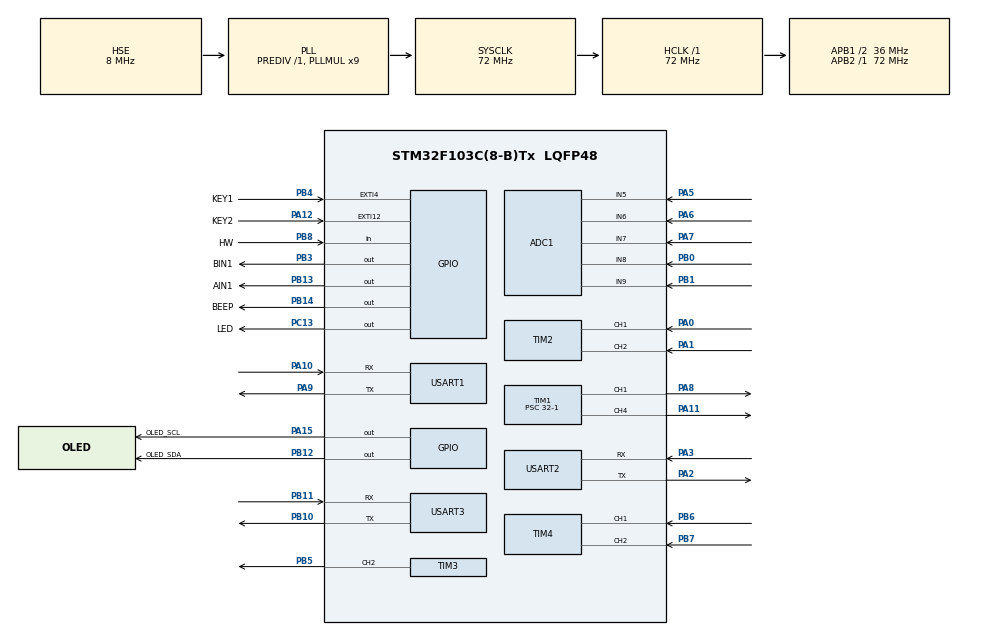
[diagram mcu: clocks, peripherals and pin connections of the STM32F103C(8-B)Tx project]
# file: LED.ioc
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ADC1.Channel-0\#ChannelRegularConversion=ADC_CHANNEL_5
ADC1.Channel-1\#ChannelRegularConversion=ADC_CHANNEL_6
ADC1.Channel-2\#ChannelRegularConversion=ADC_CHANNEL_7
ADC1.Channel-3\#ChannelRegularConversion=ADC_CHANNEL_8
ADC1.Channel-4\#ChannelRegularConversion=ADC_CHANNEL_9
ADC1.DiscontinuousConvMode=ENABLE
ADC1.NbrOfConversion=5
ADC1.NbrOfConversionFlag=1
ADC1.Rank-0\#ChannelRegularConversion=1
ADC1.Rank-1\#ChannelRegularConversion=2
ADC1.Rank-2\#ChannelRegularConversion=3
ADC1.Rank-3\#ChannelRegularConversion=4
ADC1.Rank-4\#ChannelRegularConversion=5
ADC1.SamplingTime-0\#ChannelRegularConversion=ADC_SAMPLETIME_1CYCLE_5
ADC1.SamplingTime-1\#ChannelRegularConversion=ADC_SAMPLETIME_1CYCLE_5
ADC1.SamplingTime-2\#ChannelRegularConversion=ADC_SAMPLETIME_13CYCLES_5
ADC1.SamplingTime-3\#ChannelRegularConversion=ADC_SAMPLETIME_1CYCLE_5
ADC1.SamplingTime-4\#ChannelRegularConversion=ADC_SAMPLETIME_1CYCLE_5
ADC1.master=1
Mcu.Family=STM32F1
Mcu.Name=STM32F103C(8-B)Tx
Mcu.Package=LQFP48
NVIC.ADC1_2_IRQn=true\:0\:0\:false\:false\:true\:true\:true\:true
NVIC.EXTI15_10_IRQn=true\:0\:0\:false\:false\:true\:true\:true\:true
NVIC.EXTI4_IRQn=true\:4\:0\:true\:false\:true\:true\:true\:true
NVIC.PriorityGroup=NVIC_PRIORITYGROUP_4
NVIC.TIM1_UP_IRQn=true\:3\:0\:true\:false\:true\:true\:true\:true
NVIC.TIM2_IRQn=true\:2\:0\:true\:false\:true\:true\:true\:true
NVIC.TIM3_IRQn=true\:1\:0\:true\:false\:true\:true\:true\:true
NVIC.TIM4_IRQn=true\:2\:0\:true\:false\:true\:true\:true\:true
NVIC.USART1_IRQn=true\:0\:0\:false\:false\:true\:true\:true\:true
NVIC.USART2_IRQn=true\:0\:0\:false\:false\:true\:true\:true\:true
NVIC.USART3_IRQn=true\:0\:0\:true\:false\:true\:true\:true\:true
PA0-WKUP.GPIO_PuPd=GPIO_PULLUP
PA0-WKUP.Signal=S_TIM2_CH1_ETR
PA1.GPIO_PuPd=GPIO_PULLUP
PA1.Signal=S_TIM2_CH2
PA10.Mode=Asynchronous
PA10.Signal=USART1_RX
PA11.Signal=S_TIM1_CH4
PA12.GPIO_Label=KEY2
PA12.GPIO_ModeDefaultEXTI=GPIO_MODE_IT_FALLING
PA12.GPIO_PuPd=GPIO_PULLUP
PA12.Signal=GPXTI12
PA13.Mode=Serial_Wire
PA13.Signal=SYS_JTMS-SWDIO
PA14.Mode=Serial_Wire
PA14.Signal=SYS_JTCK-SWCLK
PA15.GPIO_Label=OLED_SCL
PA15.GPIO_PuPd=GPIO_PULLUP
PA15.PinState=GPIO_PIN_SET
PA15.Signal=GPIO_Output
PA2.Mode=Asynchronous
PA2.Signal=USART2_TX
PA3.Mode=Asynchronous
PA3.Signal=USART2_RX
PA4.Signal=ADCx_IN4
PA5.Signal=ADCx_IN5
PA6.Signal=ADCx_IN6
PA7.Signal=ADCx_IN7
PA8.Signal=S_TIM1_CH1
PA9.Mode=Asynchronous
PA9.Signal=USART1_TX
PB0.Signal=ADCx_IN8
PB1.Signal=ADCx_IN9
PB10.Mode=Asynchronous
PB10.Signal=USART3_TX
PB11.Mode=Asynchronous
PB11.Signal=USART3_RX
PB12.GPIO_Label=OLED_SDA
PB12.GPIO_PuPd=GPIO_PULLUP
PB12.PinState=GPIO_PIN_SET
PB12.Signal=GPIO_Output
PB13.GPIO_Label=AIN1
PB13.Signal=GPIO_Output
PB14.GPIO_Label=BEEP
PB14.GPIO_ModeDefaultOutputPP=GPIO_MODE_OUTPUT_PP
PB14.PinState=GPIO_PIN_RESET
PB14.Signal=GPIO_Output
PB3.GPIO_Label=BIN1
PB3.Signal=GPIO_Output
PB4.GPIO_Label=KEY1
PB4.GPIO_ModeDefaultEXTI=GPIO_MODE_IT_RISING
PB4.GPIO_PuPd=GPIO_PULLDOWN
PB4.Signal=GPXTI4
PB5.Signal=S_TIM3_CH2
PB6.GPIO_PuPd=GPIO_PULLUP
PB6.Signal=S_TIM4_CH1
PB7.GPIO_PuPd=GPIO_PULLUP
PB7.Signal=S_TIM4_CH2
PB8.GPIO_Label=HW
PB8.GPIO_PuPd=GPIO_PULLDOWN
PB8.Signal=GPIO_Input
PC13-TAMPER-RTC.GPIO_Label=LED
PC13-TAMPER-RTC.Signal=GPIO_Output
PD0-OSC_IN.Mode=HSE-External-Oscillator
PD0-OSC_IN.Signal=RCC_OSC_IN
PD1-OSC_OUT.Mode=HSE-External-Oscillator
PD1-OSC_OUT.Signal=RCC_OSC_OUT
ProjectManager.HeapSize=0x800
ProjectManager.StackSize=0x800
ProjectManager.TargetToolchain=MDK-ARM V5.32
RCC.ADCPresc=RCC_ADCPCLK2_DIV6
RCC.AHBFreq_Value=72000000
RCC.APB1CLKDivider=RCC_HCLK_DIV2
RCC.APB1Freq_Value=36000000
RCC.APB1TimFreq_Value=72000000
RCC.APB2Freq_Value=72000000
RCC.APB2TimFreq_Value=72000000
RCC.HCLKFreq_Value=72000000
RCC.PLLMUL=RCC_PLL_MUL9
RCC.PLLSourceVirtual=RCC_PLLSOURCE_HSE
RCC.SYSCLKFreq_VALUE=72000000
RCC.SYSCLKSource=RCC_SYSCLKSOURCE_PLLCLK
RCC.USBFreq_Value=72000000
SH.ADCx_IN4.0=ADC2_IN4
SH.ADCx_IN5.0=ADC1_IN5,IN5
SH.ADCx_IN6.0=ADC1_IN6,IN6
SH.ADCx_IN7.0=ADC1_IN7,IN7
SH.ADCx_IN8.0=ADC1_IN8,IN8
SH.ADCx_IN9.0=ADC1_IN9,IN9
SH.S_TIM1_CH1.0=TIM1_CH1,PWM Generation1 CH1
SH.S_TIM1_CH4.0=TIM1_CH4,PWM Generation4 CH4
SH.S_TIM2_CH1_ETR.0=TIM2_CH1,Encoder_Interface
SH.S_TIM2_CH2.0=TIM2_CH2,Encoder_Interface
SH.S_TIM3_CH2.0=TIM3_CH2,PWM Generation2 CH2
SH.S_TIM4_CH1.0=TIM4_CH1,Encoder_Interface
SH.S_TIM4_CH2.0=TIM4_CH2,Encoder_Interface
TIM1.AutoReloadPreload=TIM_AUTORELOAD_PRELOAD_ENABLE
TIM1.Channel-PWM\ Generation1\ CH1=TIM_CHANNEL_1
TIM1.Channel-PWM\ Generation4\ CH4=TIM_CHANNEL_4
TIM1.Period=100-1
TIM1.Prescaler=32-1
TIM1.Pulse-PWM\ Generation1\ CH1=0
TIM1.Pulse-PWM\ Generation4\ CH4=0
TIM2.EncoderMode=TIM_ENCODERMODE_TI12
TIM2.IC1Filter=6
TIM2.IC2Filter=6
TIM3.Channel-PWM\ Generation2\ CH2=TIM_CHANNEL_2
TIM3.Period=100-1
TIM3.Prescaler=1440-1
TIM4.EncoderMode=TIM_ENCODERMODE_TI12
TIM4.IC1Filter=6
TIM4.IC2Filter=6
USART1.VirtualMode=VM_ASYNC
USART2.VirtualMode=VM_ASYNC
USART3.VirtualMode=VM_ASYNC
VP_TIM1_VS_ClockSourceINT.Mode=Internal
board=custom

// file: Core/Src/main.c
/* USER CODE BEGIN Header */
/**
  ******************************************************************************
  * @file           : main.c
  * @brief          : Main program body
  ******************************************************************************
  * @attention
  *
  * Copyright (c) 2022 STMicroelectronics.
  * All rights reserved.
  *
  * This software is licensed under terms that can be found in the LICENSE file
  * in the root directory of this software component.
  * If no LICENSE file comes with this software, it is provided AS-IS.
  *
  ******************************************************************************
  */
/* USER CODE END Header */
#include "main.h"
#include "adc.h"
#include "tim.h"
#include "usart.h"
#include "gpio.h"

/* USER CODE BEGIN Includes */
#include "oled.h"
#include "stdio.h"
#include "motor.h"

#include "pid.h"
#include "control.h"
#include "encoder.h"
#include "protocol.h"
#include <string.h>
#include "gray_sensor.h"
#include "openmv.h"
#include "blue.h"

/* USER CODE END Includes */

/* USER CODE BEGIN PM */
extern float Motor1Speed ;
extern float Motor2Speed ;
extern long Target_encodersum;
extern int encoder1;
extern long encodersum1;
extern long encodersum2;

extern float Mileage1;//里程数
extern float Mileage2;
extern float Target_Mileage;

extern tPid pidMotor1Speed;
extern tPid pidMotor2Speed;
extern tPid pidpos1;
extern tPid pidpos2;

extern uint8_t LR,LR_tem,Num,Find_State,TargetNum,right_flag,left_flag,Finded_flag;

//extern uint8_t Usart1_ReadBuf[255];	//串口1 缓冲数组

uint8_t OledString[50];

extern uint8_t g_ucUsart3ReceiveData;
extern uint8_t uart1_rxbuff;

extern float pos_pwm;
extern uint8_t HD_Read[5];

int load_flat;						//药品装载标志
extern uint8_t Line_flag, Turn_flag,Stop_Flag,motor_flat,Spin_start_flag,Spin_succeed_flag;
extern float circle;
extern uint8_t stop_count , spin_count;
extern uint8_t Num;
uint8_t Do_count;
uint16_t ADC_Value[5];
extern float pos_pwm1;
extern int Line_num;
extern uint16_t TimerCount;
uint8_t task=1;
extern uint8_t Target_Room;
extern uint16_t FindTimeCount,loadCount;
int caseflag=0;
extern uint8_t Gray_flat,Car_stop_flat,Car_Goon_flag,Speed_Up;

/* USER CODE END PM */

void SystemClock_Config(void);

int main(void)
{

  /* MCU Configuration--------------------------------------------------------*/

  /* Reset of all peripherals, Initializes the Flash interface and the Systick. */
  HAL_Init();

  /* Configure the system clock */
  SystemClock_Config();

  /* Initialize all configured peripherals */
  MX_GPIO_Init();
  MX_USART1_UART_Init();
  MX_TIM1_Init();
  MX_TIM2_Init();
  MX_TIM4_Init();
  MX_USART3_UART_Init();
  MX_TIM3_Init();
  MX_USART2_UART_Init();
  MX_ADC1_Init();
  /* USER CODE BEGIN 2 */
  OLED_Init();			//初始化OLED
  OLED_Clear()  	;
  HAL_TIM_PWM_Start(&htim1,TIM_CHANNEL_1);//开启定时器1 通道1 PWM输出
  HAL_TIM_PWM_Start(&htim1,TIM_CHANNEL_4);//开启定时器1 通道4 PWM输出
  HAL_TIM_PWM_Start(&htim3,TIM_CHANNEL_2);//定时器3 舵机
  HAL_TIM_Encoder_Start(&htim2,TIM_CHANNEL_ALL);//开启定时器2
  HAL_TIM_Encoder_Start(&htim4,TIM_CHANNEL_ALL);//开启定时器4
  HAL_TIM_Base_Start_IT(&htim2);				//开启定时器2 中断
  HAL_TIM_Base_Start_IT(&htim3);
  HAL_TIM_Base_Start_IT(&htim4);                //开启定时器4 中断
  HAL_TIM_Base_Start_IT(&htim1);                //开启定时器1 中断

  __HAL_UART_ENABLE_IT(&huart1,UART_IT_RXNE);	//开启串口1接收中断
  __HAL_UART_ENABLE_IT(&huart2,UART_IT_RXNE);	//开启串口2接收中断

  HAL_UART_Receive_IT(&huart3,&g_ucUsart3ReceiveData,1);
//  HAL_UART_Receive_IT(&huart2,&uart2_rxbuff,1);
  HAL_UART_Receive_IT(&huart1,&uart1_rxbuff,1);
//  PID_init();
  protocol_init();
  set_computer_value(SEND_STOP_CMD, CURVES_CH1, NULL, 0);
  LED_OFF;
  HAL_ADCEx_Calibration_Start(&hadc1);
  Motor_Set(60,60);
  /* USER CODE END 2 */

  /* Infinite loop */
  while (1)
  {

    /* USER CODE BEGIN 3 */

	if(TimerCount>=100)
	{

//		Send_Data_K210();
		Set_task();
		TimerCount=0;

	}

	if(loadCount>=500)
	{
		If_load();
		loadCount=0;

	}

	if(task==1)
	{
		Set_TargetRoom();
	}

//	sprintf((char*)OledString, "V1:%.2f V2:%.2f", Motor1Speed,Motor2Speed);//
//	OLED_ShowString(0,0,OledString,12);

	sprintf((char*)OledString, "grayflag:%d",Gray_flat);
	OLED_ShowString(0,3,OledString,12);

	sprintf((char*)OledString, "encoder:%d",encoder1);
	OLED_ShowString(0,4,OledString,12);

	sprintf((char*)OledString, "Task:%d", task);
	OLED_ShowString(0,0,OledString,12);

	sprintf((char*)OledString, "caseflag:%d",caseflag);
	OLED_ShowString(0,2,OledString,12);

//	sprintf((char*)OledString, "M1:%.2f",Mileage1);
//	OLED_ShowString(0,5,OledString,12);

	sprintf((char*)OledString, "%d %d %d %d %d",HD_Read[0], HD_Read[1] ,HD_Read[2],HD_Read[3],HD_Read[4]);
	OLED_ShowString(0,1,OledString,12);

//	sprintf((char*)OledString, "M2:%.2f",Mileage2 );
//	OLED_ShowString(0,6,OledString,12);

	sprintf((char*)OledString, "num:%d TNum:%d", Num,TargetNum );
	OLED_ShowString(0,7,OledString,12);

	sprintf((char*)OledString, "%d %d %d",ADC_Value[2],ADC_Value[1],ADC_Value[0]);
	OLED_ShowString(0,6,OledString,12);

	sprintf((char*)OledString, "%d %d",ADC_Value[4],ADC_Value[3]);
	OLED_ShowString(0,5,OledString,12);

if(task==2)
{//近端病房
	if(Target_Room=='B')
	{
		switch(Do_count)
		{
			case 0:
					Do_count++;
					Car_go(78);
					break;
			case 1:
					if(Stop_Flag==1)
					{
						Spin_Turn(right);
						Do_count++;
					}break;
			case 2:
					if(Spin_succeed_flag==1)
					{
						Car_go(42);
						Do_count++;
					}break;
			case 3:
					if(Stop_Flag==1)
					{
						LED_ON;
						Do_count++;
					}break;
			case 4:

					if(load_flat==0)
						{
						Spin_Turn(back);
						Do_count++;
						break;
						}
			case 5:
					if(Spin_succeed_flag==1)
						{
							Car_go(44);
							Do_count++;
						}break;
			case 6:
						if(Stop_Flag==1)
						{
							Spin_Turn(left);
							Do_count++;
						}break;
			case 7:
						if(Spin_succeed_flag==1)
						{
							Car_go(62);
						}break;

			}
		}

	else if(Target_Room=='A')
	{
		switch(Do_count)
		{
			case 0:
					Do_count++;
					Car_go(78);
					break;
			case 1:
					if(Stop_Flag==1)
					{
						Spin_Turn(left);
						Do_count++;
					}break;
			case 2:
					if(Spin_succeed_flag==1)
					{
						Car_go(42);
						Do_count++;
					}break;
			case 3:
					if(Stop_Flag==1)
					{
						LED_ON;
						Do_count++;
					}break;
			case 4:

					if(load_flat==0)
						{
						Spin_Turn(back);
						Do_count++;
						}break;
			case 5:
					if(Spin_succeed_flag==1)
						{
							Car_go(45);
							Do_count++;
						}break;
			case 6:
						if(Stop_Flag==1)
						{
							Spin_Turn(right);
							Do_count++;
						}break;
			case 7:
						if(Spin_succeed_flag==1)
						{
							Car_go(60);
						}break;

		}

	}

	//中远端病房
	else if(Target_Room==9)
		{
			switch(Do_count)
		{
			case 0:
					Car_go(128);
					Do_count++;
					break;
			case 1:
					if(Stop_Flag==1)
					{
							Find_State=1;
							if(FindTimeCount<=WaitTime)
							{

								If_Find();
								if(LR==1)		//中左
								{
									Car_go(37);
									Find_State=0;
									caseflag=-1;
									FindTimeCount = 0;
									Do_count=11;
								}
								else if(LR==2)		//中右
								{
									Car_go(37);
									Find_State=0;
									caseflag=1;
									FindTimeCount = 0;
									Do_count=11;
								}								//这里执行完小车在中端十字路口
							}
							else if(FindTimeCount>WaitTime)
								{
										Car_go(87);			//这里去远端
										Find_State=0;
										FindTimeCount = 0;
										Do_count++;
								}
								}break;

			case 2:
						if(Stop_Flag == 1)
								{
										Find_State=1;
										if(FindTimeCount<=WaitTime)
									{
											If_Find();
										if(LR == 1)
										{
											 Car_go(37);
											 Find_State=0;
											 FindTimeCount = 0;
											 caseflag=-1;
											 Do_count=5;
										}
										else if(LR == 2)
										{
											 Car_go(37);
											 Find_State=0;
											 FindTimeCount = 0;
											 caseflag=1;
											 Do_count=5;
										}
										}
										if(FindTimeCount>WaitTime)
									{
										{		Spin_right();
												Find_State=0;
												FindTimeCount = 0;
												Do_count++;
										}
									}
								}break;
			case 3:
							if(right_flag==0)
							{
									Find_State=1;
								if(FindTimeCount<=WaitTime)
								{
									If_Find();
									if(LR==1||LR == 2)
									{
										Spin_left();
										caseflag=1;
										Find_State=0;
										FindTimeCount = 0;
										Do_count++;
									}
								}
								else if(FindTimeCount>WaitTime)
								{
									Spin_left();
									caseflag=-1;
									Find_State=0;
									FindTimeCount = 0;
									Do_count++;
								}
								}break;

			case 4:
						if(left_flag==0)
						{
							Car_go(30);
							Do_count=5;
						}
						break;						//远端十字口

			case 5:
						if(Stop_Flag==1)
						{
							if(caseflag==1)
							{
								Spin_Turn(right);
								Do_count++;
							}
							else if(caseflag==-1)
							{
								Spin_Turn(left);
								Do_count++;
							}break;
						}
				case 6:
						if(Spin_succeed_flag==1)
						{
							if(caseflag==-1)
							{
							Car_go(50);
							}
							else
							{
								Car_go(47);
							}
							LR=0;
							Do_count++;

						}break;
				case 7:
						if(Stop_Flag==1)
						{
								Find_State=1;
								If_Find();
							if(FindTimeCount<=WaitTime)
							{
								if(LR==1||LR==2)
								{
									if(caseflag==1)
									{
										Car_go(38);}

								  else
								  {
										Car_go(37);
								  }
								 Find_State=0;
								 FindTimeCount=0;
								 Do_count++;
								 }
							}

							else if(FindTimeCount>WaitTime)
							{
								if(caseflag==-1)
								{
									if(LR==0 && LR_tem==1) LR=2;
									else if(LR==0 && LR_tem==2) LR=1;
										Car_go(36);

								}
								else if(caseflag==1)
								{
									if(LR==0 && LR_tem==1) LR=2;
									else if(LR==0 && LR_tem==2) LR=1;
									Car_go(39);
								}
								 Find_State=0;
								 FindTimeCount=0;
								 Do_count++;
							}

						}break;
				case 8:
						if( LR == 1 &&caseflag==-1)
										{

											 caseflag=-2;
											 Do_count++;
										}
						else if(LR == 2 &&caseflag==-1)
										{

											 caseflag=-3;
											 Do_count++;
										}
						else if(LR == 2 &&caseflag==1)
										{

											 caseflag=2;
											 Do_count++;
										}
					   else if(LR == 1 &&caseflag==1 )
										{

											 caseflag=3;
											 Do_count++;
										}break;
				case 9:
						if(Stop_Flag==1)
						{
							if(caseflag==2||caseflag==-3)
							{
								Spin_Turn(right);
								Do_count++;
							}
							if(caseflag==3||caseflag==-2)
							{
								Spin_Turn(left);
								Do_count++;
							}

						}break;

				case 10:
						if(Spin_succeed_flag==1)
						{
							if(caseflag==2)
							{
								Car_go(41);
							}
							else if(caseflag==-3)
							{
								Car_go(42);
							}
							else
							{
							Car_go(43);
							}
							Do_count=18;
							break;
						}       //到达远端病房

				//这里进中端病房并返回
				case 11:
						if(Stop_Flag==1)
						{
							if(caseflag==-1)
							{
								Spin_Turn(left);
								Do_count++;
							}
							if(caseflag==1)
							{
								Spin_Turn(right);
								Do_count++;
							}
						}break;
				case 12:
						if(Spin_succeed_flag==1)
							{
								if(caseflag==1)
							{
								Car_go(41);
								Do_count++;
								}

							else if(caseflag==-1)
							{
								Car_go(42);
								Do_count++;
							}
						}break;
				case 13:
						if(Stop_Flag==1)
						{
						if(load_flat==0)
						{
							Spin_Turn(back);
							Do_count++;
						}
						}break;
				case 14:
						if(Spin_succeed_flag==1)
						{
							if(caseflag==1)
							{
								Car_go(43);
								Do_count++;
								}

							else if(caseflag==-1)
							{
								Car_go(45);
								Do_count++;
							}
						}break;
				case 15:
						if(Stop_Flag==1)
						{
							if(caseflag==-1)		//这里要相反
								{
									Spin_Turn(right);
									Do_count++;			}
							if(caseflag==1)
								{
									Spin_Turn(left);
									Do_count++;

								}
						}break;
				case 16:
						if(Spin_succeed_flag==1)
						{
							if(caseflag==-1)		//这里要相反
								{
									Car_go(148);
									Do_count++;
									}
							if(caseflag==1)
								{
									Car_go(151);
									Do_count++;
						}
						}break;
				case 17:
						if(Stop_Flag==1)
						{
							LED_OFF;

						}break;

				//远端返回

				case 18:
					if(Stop_Flag==1)
					{
						if(load_flat==0)
						{
							Spin_Turn(back);
							Do_count++;
						}
						}break;
				case 19:
					if(Spin_succeed_flag==1)
						{
							if(caseflag==-3)
							{
								Car_go(45);
								Do_count++;
							}
							else if(caseflag==-2)
							{
								Car_go(45);
								Do_count++;
							}
							else
							{
								Car_go(45);
								Do_count++;
							}
						}break;
				case 20:
					if(Stop_Flag==1)
					{
						if(caseflag==-2||caseflag==3)
						{
							Spin_Turn(right);
							Do_count++;
						}
						else if(caseflag==-3||caseflag==2)
						{
							Spin_Turn(left);
							Do_count++;
						}
					}break;
				case 21:
					if(Spin_succeed_flag==1)
					{	if(caseflag==2)
						{
							Car_go(89);
							Do_count++;
						}
						else if(caseflag==3)
						{
							Car_go(85);
							Do_count++;
						}
						else if(caseflag==-2)
						{
							Car_go(83);
							Do_count++;
						}
						else
						{
							Car_go(88);
							Do_count++;
						}

					}break;
				case 22:
					if(Stop_Flag==1)
					{
							if(caseflag==-2||caseflag==-3)
							{
								Spin_Turn(right);
								Do_count++;
							}
							else if(caseflag==2||caseflag==3)
							{
								Spin_Turn(left);
								Do_count++;
							}

					}break;

				case 23:
					if(Spin_succeed_flag==1)
					{
						Speed_Up=1;
						if(caseflag==-2)
						{
							Car_go(236);
						}
						else
						{
							Car_go(237);
						}

					}break;

}
}

	}
	}
}

  /* USER CODE END 3 */

void SystemClock_Config(void)
{
  RCC_OscInitTypeDef RCC_OscInitStruct = {0};
  RCC_ClkInitTypeDef RCC_ClkInitStruct = {0};
  RCC_PeriphCLKInitTypeDef PeriphClkInit = {0};

  /** Initializes the RCC Oscillators according to the specified parameters
  * in the RCC_OscInitTypeDef structure.
  */
  RCC_OscInitStruct.OscillatorType = RCC_OSCILLATORTYPE_HSE;
  RCC_OscInitStruct.HSEState = RCC_HSE_ON;
  RCC_OscInitStruct.HSEPredivValue = RCC_HSE_PREDIV_DIV1;
  RCC_OscInitStruct.HSIState = RCC_HSI_ON;
  RCC_OscInitStruct.PLL.PLLState = RCC_PLL_ON;
  RCC_OscInitStruct.PLL.PLLSource = RCC_PLLSOURCE_HSE;
  RCC_OscInitStruct.PLL.PLLMUL = RCC_PLL_MUL9;
  if (HAL_RCC_OscConfig(&RCC_OscInitStruct) != HAL_OK)
  {
    Error_Handler();
  }

  /** Initializes the CPU, AHB and APB buses clocks
  */
  RCC_ClkInitStruct.ClockType = RCC_CLOCKTYPE_HCLK|RCC_CLOCKTYPE_SYSCLK
                              |RCC_CLOCKTYPE_PCLK1|RCC_CLOCKTYPE_PCLK2;
  RCC_ClkInitStruct.SYSCLKSource = RCC_SYSCLKSOURCE_PLLCLK;
  RCC_ClkInitStruct.AHBCLKDivider = RCC_SYSCLK_DIV1;
  RCC_ClkInitStruct.APB1CLKDivider = RCC_HCLK_DIV2;
  RCC_ClkInitStruct.APB2CLKDivider = RCC_HCLK_DIV1;

  if (HAL_RCC_ClockConfig(&RCC_ClkInitStruct, FLASH_LATENCY_2) != HAL_OK)
  {
    Error_Handler();
  }
  PeriphClkInit.PeriphClockSelection = RCC_PERIPHCLK_ADC;
  PeriphClkInit.AdcClockSelection = RCC_ADCPCLK2_DIV6;
  if (HAL_RCCEx_PeriphCLKConfig(&PeriphClkInit) != HAL_OK)
  {
    Error_Handler();
  }
}

void Error_Handler(void)
{
  __disable_irq();
  while (1)
  {
  }
}
